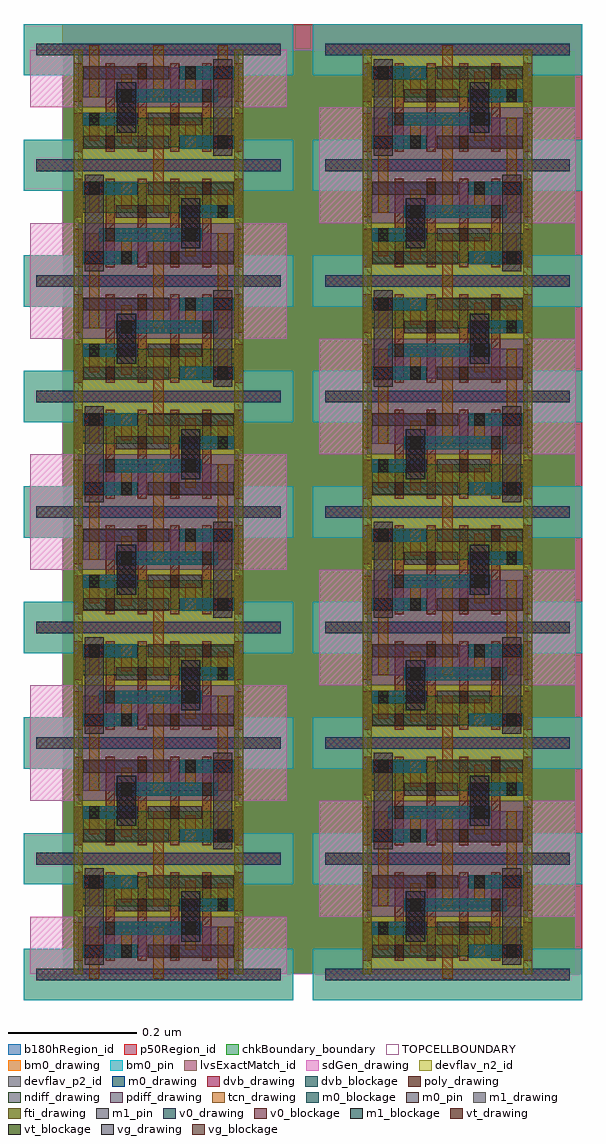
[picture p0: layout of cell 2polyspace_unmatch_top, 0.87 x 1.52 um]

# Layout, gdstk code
from math import pi, radians
import gdstk
lib = gdstk.Library(unit=1e-6, precision=5e-10)
def R(c, l, rs):  # rectangles x0, y0, x1, y1
    for r in rs: c.add(gdstk.rectangle(r[:2], r[2:], *l))
def A(c, l, x, y, w, h, nx, ny, dx, dy):  # array of equal rectangles
    R(c, l, [(x+i*dx, y+j*dy, x+i*dx+w, y+j*dy+h) for i in range(nx) for j in range(ny)])
ndiff_drawing = (1, 0)
poly_drawing = (2, 0)
m1_drawing = (4, 0)
m1_blockage = (4, 1)
m1_pin = (4, 2)
tcn_drawing = (5, 0)
pdiff_drawing = (8, 0)
sdGen_drawing = (11, 0)
vt_drawing = (31, 0)
vt_blockage = (31, 1)
vg_drawing = (32, 0)
vg_blockage = (32, 1)
chkBoundary_boundary = (50, 0)
TOPCELLBOUNDARY = (50, 99)
m0_drawing = (55, 0)
m0_blockage = (55, 1)
m0_pin = (55, 2)
v0_drawing = (56, 0)
v0_blockage = (56, 1)
lvsExactMatch_id = (81, 434)
b180hRegion_id = (82, 137)
p50Region_id = (82, 420)
fti_drawing = (184, 0)
devflav_n2_id = (273, 104)
devflav_p2_id = (273, 105)
bm0_drawing = (366, 0)
bm0_pin = (366, 2)
dvb_drawing = (474, 0)
dvb_blockage = (474, 1)

ibmaob012ac1n02x3 = lib.new_cell('ibmaob012ac1n02x3')
R(ibmaob012ac1n02x3, ndiff_drawing, [(0.007,0.028,0.243,0.074)])
A(ibmaob012ac1n02x3, poly_drawing, 0.043, 0.021, 0.014, 0.138, 4, 1, 0.05, 0)
R(ibmaob012ac1n02x3, poly_drawing, [(-0.007,0.021,0.007,0.081), (0.243,0.021,0.257,0.081), (-0.007,0.099,0.007,0.159), (0.243,0.099,0.257,0.159)])
R(ibmaob012ac1n02x3, m1_drawing, [(0.21,0.015,0.24,0.165), (0.06,0.051,0.09,0.129)])
R(ibmaob012ac1n02x3, m1_blockage, [(0.06,0.051,0.09,0.129)])
R(ibmaob012ac1n02x3, m1_pin, [(0.21,0.015,0.24,0.165)])
A(ibmaob012ac1n02x3, tcn_drawing, 0.017, 0.106, 0.016, 0.081, 3, 1, 0.1, 0)
R(ibmaob012ac1n02x3, tcn_drawing, [(0.117,-0.007,0.133,0.074), (0.217,0.026,0.233,0.074), (0.167,0.028,0.183,0.068), (0.067,0.034,0.083,0.074), (0.017,0.038,0.033,0.082), (0.067,0.098,0.083,0.142), (0.167,0.114,0.183,0.154)])
R(ibmaob012ac1n02x3, pdiff_drawing, [(0.007,0.106,0.243,0.152)])
R(ibmaob012ac1n02x3, sdGen_drawing, [(-0.075,0.09,0.325,0.18)])
R(ibmaob012ac1n02x3, vt_drawing, [(0.217,0.026,0.233,0.046), (0.017,0.062,0.033,0.082), (0.067,0.098,0.083,0.118), (0.167,0.134,0.183,0.154)])
R(ibmaob012ac1n02x3, vt_blockage, [(0.217,0.026,0.233,0.046), (0.017,0.062,0.033,0.082), (0.067,0.098,0.083,0.118), (0.167,0.134,0.183,0.154)])
R(ibmaob012ac1n02x3, vg_drawing, [(0.043,0.026,0.057,0.046), (0.143,0.062,0.157,0.082), (0.193,0.098,0.207,0.118), (0.093,0.134,0.107,0.154)])
R(ibmaob012ac1n02x3, vg_blockage, [(0.043,0.026,0.057,0.046), (0.143,0.062,0.157,0.082), (0.193,0.098,0.207,0.118), (0.093,0.134,0.107,0.154)])
R(ibmaob012ac1n02x3, chkBoundary_boundary, [(0,0,0.25,0.18)])
R(ibmaob012ac1n02x3, m0_drawing, [(0.008,0.026,0.142,0.046), (0.158,0.026,0.242,0.046), (0.008,0.062,0.092,0.082), (0.108,0.062,0.192,0.082), (0.058,0.098,0.217,0.118), (0.008,0.134,0.142,0.154), (0.158,0.134,0.242,0.154)])
R(ibmaob012ac1n02x3, m0_blockage, [(0.158,0.026,0.242,0.046), (0.008,0.062,0.092,0.082), (0.058,0.098,0.217,0.118), (0.158,0.134,0.242,0.154)])
R(ibmaob012ac1n02x3, m0_pin, [(0.008,0.026,0.142,0.046), (0.108,0.062,0.192,0.082), (0.008,0.134,0.142,0.154)])
R(ibmaob012ac1n02x3, v0_drawing, [(0.21,0.026,0.24,0.046), (0.06,0.062,0.09,0.118), (0.21,0.134,0.24,0.154)])
R(ibmaob012ac1n02x3, v0_blockage, [(0.21,0.026,0.24,0.046), (0.06,0.062,0.09,0.118), (0.21,0.134,0.24,0.154)])
R(ibmaob012ac1n02x3, lvsExactMatch_id, [(0,0,0.25,0.18)])
R(ibmaob012ac1n02x3, b180hRegion_id, [(-0.025,0,0.275,0.18)])
R(ibmaob012ac1n02x3, p50Region_id, [(-0.025,0,0.275,0.18)])
R(ibmaob012ac1n02x3, fti_drawing, [(-0.007,0,0.007,0.18), (0.243,0,0.257,0.18)])
R(ibmaob012ac1n02x3, devflav_n2_id, [(0,0,0.25,0.09)])
R(ibmaob012ac1n02x3, devflav_p2_id, [(0,0.09,0.25,0.18)])
R(ibmaob012ac1n02x3, bm0_drawing, [(-0.085,-0.04,0.335,0.04), (-0.085,0.14,0.335,0.22)])
R(ibmaob012ac1n02x3, bm0_pin, [(-0.085,-0.04,0.335,0.04), (-0.085,0.14,0.335,0.22)])
R(ibmaob012ac1n02x3, dvb_drawing, [(-0.0655,-0.009,0.3155,0.009), (-0.0655,0.171,0.3155,0.189)])
R(ibmaob012ac1n02x3, dvb_blockage, [(-0.0655,-0.009,0.3155,0.009), (-0.0655,0.171,0.3155,0.189)])
ibmaob012ac1n02x3.add(gdstk.Label('c', (0.1,0.09), layer=2, texttype=0))
ibmaob012ac1n02x3.add(gdstk.Label('a', (0.15,0.09), layer=2, texttype=0))
ibmaob012ac1n02x3.add(gdstk.Label('n1', (0.2,0.09), layer=2, texttype=0))
ibmaob012ac1n02x3.add(gdstk.Label('b', (0.05,0.09), layer=2, texttype=0))
ibmaob012ac1n02x3.add(gdstk.Label('out0', (0.225,0.09), layer=4, texttype=0))
ibmaob012ac1n02x3.add(gdstk.Label('out0', (0.225,0.09), layer=4, texttype=0))
ibmaob012ac1n02x3.add(gdstk.Label('n1', (0.075,0.09), layer=4, texttype=0))
ibmaob012ac1n02x3.add(gdstk.Label('out0', (0.225,0.09), layer=4, texttype=2))
ibmaob012ac1n02x3.add(gdstk.Label('vssx', (0.125,0.0335), layer=5, texttype=0))
ibmaob012ac1n02x3.add(gdstk.Label('n1', (0.025,0.06), layer=5, texttype=0))
ibmaob012ac1n02x3.add(gdstk.Label('n1', (0.075,0.12), layer=5, texttype=0))
ibmaob012ac1n02x3.add(gdstk.Label('out0', (0.175,0.134), layer=5, texttype=0))
ibmaob012ac1n02x3.add(gdstk.Label('vcc', (0.225,0.1465), layer=5, texttype=0))
ibmaob012ac1n02x3.add(gdstk.Label('out0', (0.225,0.05), layer=5, texttype=0))
ibmaob012ac1n02x3.add(gdstk.Label('g1|n1', (0.175,0.048), layer=5, texttype=0))
ibmaob012ac1n02x3.add(gdstk.Label('vcc', (0.125,0.1465), layer=5, texttype=0))
ibmaob012ac1n02x3.add(gdstk.Label('g0|n1', (0.075,0.054), layer=5, texttype=0))
ibmaob012ac1n02x3.add(gdstk.Label('vcc', (0.025,0.1465), layer=5, texttype=0))
ibmaob012ac1n02x3.add(gdstk.Label('a', (0.15,0.072), layer=55, texttype=0))
ibmaob012ac1n02x3.add(gdstk.Label('b', (0.075,0.036), layer=55, texttype=0))
ibmaob012ac1n02x3.add(gdstk.Label('c', (0.075,0.144), layer=55, texttype=0))
ibmaob012ac1n02x3.add(gdstk.Label('n1', (0.1375,0.108), layer=55, texttype=0))
ibmaob012ac1n02x3.add(gdstk.Label('out0', (0.2,0.036), layer=55, texttype=0))
ibmaob012ac1n02x3.add(gdstk.Label('n1', (0.05,0.072), layer=55, texttype=0))
ibmaob012ac1n02x3.add(gdstk.Label('out0', (0.2,0.144), layer=55, texttype=0))
ibmaob012ac1n02x3.add(gdstk.Label('c', (0.075,0.144), layer=55, texttype=0))
ibmaob012ac1n02x3.add(gdstk.Label('b', (0.075,0.036), layer=55, texttype=0))
ibmaob012ac1n02x3.add(gdstk.Label('a', (0.15,0.072), layer=55, texttype=0))
ibmaob012ac1n02x3.add(gdstk.Label('a', (0.15,0.072), layer=55, texttype=2))
ibmaob012ac1n02x3.add(gdstk.Label('b', (0.075,0.036), layer=55, texttype=2))
ibmaob012ac1n02x3.add(gdstk.Label('c', (0.075,0.144), layer=55, texttype=2))
ibmaob012ac1n02x3.add(gdstk.Label('vcc', (0.125,0.18), layer=366, texttype=0))
ibmaob012ac1n02x3.add(gdstk.Label('vssx', (0.125,0), layer=366, texttype=0))
ibmaob012ac1n02x3.add(gdstk.Label('vcc', (0.125,0.18), layer=366, texttype=0))
ibmaob012ac1n02x3.add(gdstk.Label('vssx', (0.125,0), layer=366, texttype=0))
ibmaob012ac1n02x3.add(gdstk.Label('vcc', (0.125,0.18), layer=366, texttype=2))
ibmaob012ac1n02x3.add(gdstk.Label('vssx', (0.125,0), layer=366, texttype=2))

c_2polyspace_unmatch_top = lib.new_cell('2polyspace_unmatch_top')
R(c_2polyspace_unmatch_top, chkBoundary_boundary, [(0,0,0.8,1.44)])
R(c_2polyspace_unmatch_top, TOPCELLBOUNDARY, [(0,0,0.8,1.44)])
R(c_2polyspace_unmatch_top, b180hRegion_id, [(0,0,0.81,1.48)])
R(c_2polyspace_unmatch_top, p50Region_id, [(0,0,0.81,1.48)])
c_2polyspace_unmatch_top.add(gdstk.Reference(ibmaob012ac1n02x3, (0.025,0.54)))
c_2polyspace_unmatch_top.add(gdstk.Reference(ibmaob012ac1n02x3, (0.025,0.18)))
c_2polyspace_unmatch_top.add(gdstk.Reference(ibmaob012ac1n02x3, (0.475,0)))
c_2polyspace_unmatch_top.add(gdstk.Reference(ibmaob012ac1n02x3, (0.725,0.36), rotation=pi))
c_2polyspace_unmatch_top.add(gdstk.Reference(ibmaob012ac1n02x3, (0.275,0.18), rotation=pi))
c_2polyspace_unmatch_top.add(gdstk.Reference(ibmaob012ac1n02x3, (0.475,0.36)))
c_2polyspace_unmatch_top.add(gdstk.Reference(ibmaob012ac1n02x3, (0.725,0.72), rotation=pi))
c_2polyspace_unmatch_top.add(gdstk.Reference(ibmaob012ac1n02x3, (0.275,0.54), rotation=pi))
c_2polyspace_unmatch_top.add(gdstk.Reference(ibmaob012ac1n02x3, (0.025,0.9)))
c_2polyspace_unmatch_top.add(gdstk.Reference(ibmaob012ac1n02x3, (0.475,0.72)))
c_2polyspace_unmatch_top.add(gdstk.Reference(ibmaob012ac1n02x3, (0.725,1.08), rotation=pi))
c_2polyspace_unmatch_top.add(gdstk.Reference(ibmaob012ac1n02x3, (0.275,0.9), rotation=pi))
c_2polyspace_unmatch_top.add(gdstk.Reference(ibmaob012ac1n02x3, (0.475,1.08)))
c_2polyspace_unmatch_top.add(gdstk.Reference(ibmaob012ac1n02x3, (0.725,1.44), rotation=pi))
c_2polyspace_unmatch_top.add(gdstk.Reference(ibmaob012ac1n02x3, (0.275,1.26), rotation=pi))
c_2polyspace_unmatch_top.add(gdstk.Reference(ibmaob012ac1n02x3, (0.025,1.26)))

lib.write_gds('2polyspace_unmatch_top.gds')
